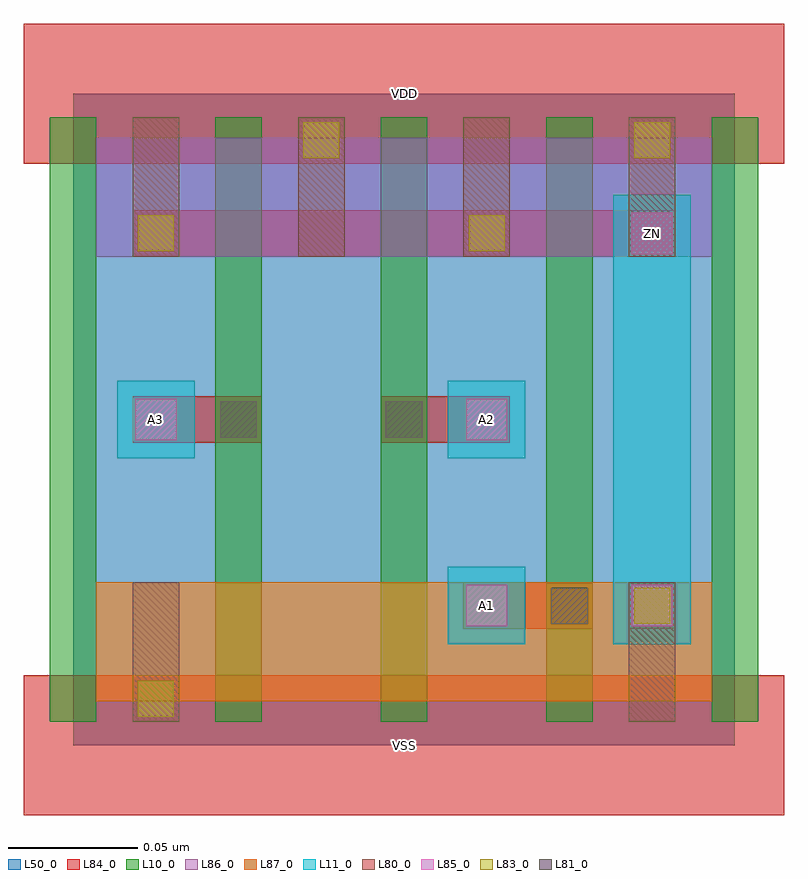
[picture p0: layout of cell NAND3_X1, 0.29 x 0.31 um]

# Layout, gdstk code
import gdstk
lib = gdstk.Library(unit=1e-6, precision=1e-09)
def R(c, l, rs):  # rectangles x0, y0, x1, y1
    for r in rs: c.add(gdstk.rectangle(r[:2], r[2:], *l))
def A(c, l, x, y, w, h, nx, ny, dx, dy):  # array of equal rectangles
    R(c, l, [(x+i*dx, y+j*dy, x+i*dx+w, y+j*dy+h) for i in range(nx) for j in range(ny)])
L10_0 = (10, 0)
L11_0 = (11, 0)
L50_0 = (50, 0)
L80_0 = (80, 0)
L81_0 = (81, 0)
L83_0 = (83, 0)
L84_0 = (84, 0)
L85_0 = (85, 0)
L86_0 = (86, 0)
L87_0 = (87, 0)

nand3_x1 = lib.new_cell('NAND3_X1')
A(nand3_x1, L10_0, -0.009, 0.009, 0.018, 0.234, 5, 1, 0.064, 0)
R(nand3_x1, L11_0, [(0.145,0.039,0.175,0.069), (0.209,0.039,0.239,0.213), (0.017,0.111,0.047,0.141), (0.145,0.111,0.175,0.141)])
R(nand3_x1, L50_0, [(0,0,0.256,0.252)])
A(nand3_x1, L80_0, 0.023, 0.189, 0.018, 0.054, 4, 1, 0.064, 0)
R(nand3_x1, L80_0, [(0.023,0.009,0.041,0.063), (0.215,0.009,0.233,0.063)])
R(nand3_x1, L81_0, [(0.185,0.047,0.199,0.061), (0.057,0.119,0.071,0.133), (0.121,0.119,0.135,0.133)])
R(nand3_x1, L83_0, [(0.025,0.011,0.039,0.025), (0.217,0.047,0.231,0.061), (0.025,0.191,0.039,0.205), (0.153,0.191,0.167,0.205), (0.089,0.227,0.103,0.241), (0.217,0.227,0.231,0.241)])
R(nand3_x1, L84_0, [(-0.019,-0.027,0.275,0.027), (0.151,0.045,0.201,0.063), (0.215,0.045,0.233,0.063), (0.023,0.117,0.073,0.135), (0.119,0.117,0.169,0.135), (0.023,0.189,0.233,0.207), (-0.019,0.225,0.275,0.279)])
R(nand3_x1, L85_0, [(0.152,0.046,0.168,0.062), (0.216,0.046,0.232,0.062), (0.024,0.118,0.04,0.134), (0.152,0.118,0.168,0.134), (0.216,0.19,0.232,0.206)])
R(nand3_x1, L86_0, [(0.009,0.189,0.247,0.235)])
R(nand3_x1, L87_0, [(0.009,0.017,0.247,0.063)])
nand3_x1.add(gdstk.Label('VDD', (0.128,0.252), layer=88, texttype=0))
nand3_x1.add(gdstk.Label('VSS', (0.128,0), layer=88, texttype=0))
nand3_x1.add(gdstk.Label('ZN', (0.224,0.198), layer=31, texttype=0))
nand3_x1.add(gdstk.Label('A2', (0.16,0.126), layer=31, texttype=0))
nand3_x1.add(gdstk.Label('A3', (0.032,0.126), layer=31, texttype=0))
nand3_x1.add(gdstk.Label('A1', (0.16,0.054), layer=31, texttype=0))

lib.write_gds('NAND3_X1.gds')
